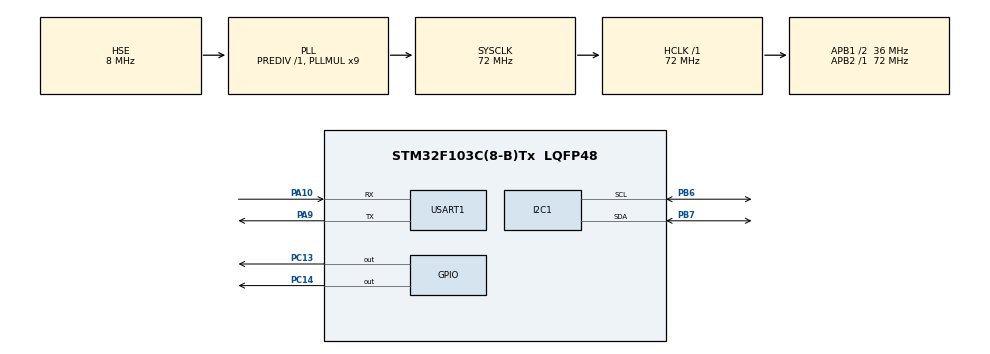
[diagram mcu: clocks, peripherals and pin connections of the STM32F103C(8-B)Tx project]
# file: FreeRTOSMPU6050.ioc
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FREERTOS.Tasks01=defaultTask,0,128,StartDefaultTask,Default,NULL,Dynamic,NULL,NULL;myTask02,0,128,StartTask02,Default,NULL,Dynamic,NULL,NULL
FREERTOS.configUSE_NEWLIB_REENTRANT=1
Mcu.Family=STM32F1
Mcu.Name=STM32F103C(8-B)Tx
Mcu.Package=LQFP48
NVIC.PriorityGroup=NVIC_PRIORITYGROUP_4
NVIC.TIM1_UP_IRQn=true\:15\:0\:false\:false\:true\:false\:false\:true
NVIC.TimeBase=TIM1_UP_IRQn
NVIC.TimeBaseIP=TIM1
PA10.Mode=Asynchronous
PA10.Signal=USART1_RX
PA9.Mode=Asynchronous
PA9.Signal=USART1_TX
PB6.Mode=I2C
PB6.Signal=I2C1_SCL
PB7.Mode=I2C
PB7.Signal=I2C1_SDA
PC13-TAMPER-RTC.Signal=GPIO_Output
PC14-OSC32_IN.Signal=GPIO_Output
PD0-OSC_IN.Mode=HSE-External-Oscillator
PD0-OSC_IN.Signal=RCC_OSC_IN
PD1-OSC_OUT.Mode=HSE-External-Oscillator
PD1-OSC_OUT.Signal=RCC_OSC_OUT
ProjectManager.HeapSize=0x200
ProjectManager.StackSize=0x400
ProjectManager.TargetToolchain=STM32CubeIDE
RCC.AHBFreq_Value=72000000
RCC.APB1CLKDivider=RCC_HCLK_DIV2
RCC.APB1Freq_Value=36000000
RCC.APB1TimFreq_Value=72000000
RCC.APB2Freq_Value=72000000
RCC.APB2TimFreq_Value=72000000
RCC.HCLKFreq_Value=72000000
RCC.PLLMUL=RCC_PLL_MUL9
RCC.PLLSourceVirtual=RCC_PLLSOURCE_HSE
RCC.SYSCLKFreq_VALUE=72000000
RCC.SYSCLKSource=RCC_SYSCLKSOURCE_PLLCLK
RCC.USBFreq_Value=72000000
USART1.VirtualMode=VM_ASYNC
VP_FREERTOS_VS_CMSIS_V1.Mode=CMSIS_V1
VP_SYS_VS_ND.Mode=No_Debug
VP_SYS_VS_tim1.Mode=TIM1
board=custom

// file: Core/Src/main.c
/* USER CODE BEGIN Header */
/**
  ******************************************************************************
  * @file           : main.c
  * @brief          : Main program body
  ******************************************************************************
  * @attention
  *
  * <h2><center>&copy; Copyright (c) 2021 STMicroelectronics.
  * All rights reserved.</center></h2>
  *
  * This software component is licensed by ST under BSD 3-Clause license,
  * the "License"; You may not use this file except in compliance with the
  * License. You may obtain a copy of the License at:
  *                        opensource.org/licenses/BSD-3-Clause
  *
  ******************************************************************************
  */
/* USER CODE END Header */
#include "main.h"
#include "cmsis_os.h"
#include "TJ_MPU6050.h"
#include "stdio.h"

I2C_HandleTypeDef hi2c1;

UART_HandleTypeDef huart1;

osThreadId defaultTaskHandle;
osThreadId myTask02Handle;

void SystemClock_Config(void);
static void MX_GPIO_Init(void);
static void MX_I2C1_Init(void);
static void MX_USART1_UART_Init(void);
void StartDefaultTask(void const * argument);
void StartTask02(void const * argument);

/* USER CODE BEGIN PFP */
RawData_Def myAccelRaw, myGyroRaw;
ScaledData_Def myAccelScaled, myGyroScaled;
/* USER CODE END PFP */

/* USER CODE BEGIN 0 */
uint8_t buf[32] = {'\0'};
/* USER CODE END 0 */

int main(void)
{

  /* MCU Configuration--------------------------------------------------------*/
	MPU_ConfigTypeDef myMpuConfig;
  /* Reset of all peripherals, Initializes the Flash interface and the Systick. */
  HAL_Init();

  /* Configure the system clock */
  SystemClock_Config();

  /* Initialize all configured peripherals */
  MX_GPIO_Init();
  MX_I2C1_Init();
  MX_USART1_UART_Init();

  /* Create the thread(s) */
  /* definition and creation of defaultTask */
  osThreadDef(defaultTask, StartDefaultTask, osPriorityNormal, 0, 128);
  defaultTaskHandle = osThreadCreate(osThread(defaultTask), NULL);

  /* definition and creation of myTask02 */
  osThreadDef(myTask02, StartTask02, osPriorityNormal, 0, 128);
  myTask02Handle = osThreadCreate(osThread(myTask02), NULL);

  MPU6050_Init(&hi2c1);
  	//2. Configure Accel and Gyro parameters
  	myMpuConfig.Accel_Full_Scale = AFS_SEL_2g;
  	myMpuConfig.ClockSource = Internal_8MHz;
  	myMpuConfig.CONFIG_DLPF = DLPF_184A_188G_Hz;
  	myMpuConfig.Gyro_Full_Scale = FS_SEL_500;
  	myMpuConfig.Sleep_Mode_Bit = 0;  //1: sleep mode, 0: normal mode
  	MPU6050_Config(&myMpuConfig);
  /* Start scheduler */
  osKernelStart();

  /* We should never get here as control is now taken by the scheduler */
  /* Infinite loop */
  while (1)
  {

  }
}

void SystemClock_Config(void)
{
  RCC_OscInitTypeDef RCC_OscInitStruct = {0};
  RCC_ClkInitTypeDef RCC_ClkInitStruct = {0};

  /** Initializes the RCC Oscillators according to the specified parameters
  * in the RCC_OscInitTypeDef structure.
  */
  RCC_OscInitStruct.OscillatorType = RCC_OSCILLATORTYPE_HSE;
  RCC_OscInitStruct.HSEState = RCC_HSE_ON;
  RCC_OscInitStruct.HSEPredivValue = RCC_HSE_PREDIV_DIV1;
  RCC_OscInitStruct.HSIState = RCC_HSI_ON;
  RCC_OscInitStruct.PLL.PLLState = RCC_PLL_ON;
  RCC_OscInitStruct.PLL.PLLSource = RCC_PLLSOURCE_HSE;
  RCC_OscInitStruct.PLL.PLLMUL = RCC_PLL_MUL9;
  if (HAL_RCC_OscConfig(&RCC_OscInitStruct) != HAL_OK)
  {
    Error_Handler();
  }
  /** Initializes the CPU, AHB and APB buses clocks
  */
  RCC_ClkInitStruct.ClockType = RCC_CLOCKTYPE_HCLK|RCC_CLOCKTYPE_SYSCLK
                              |RCC_CLOCKTYPE_PCLK1|RCC_CLOCKTYPE_PCLK2;
  RCC_ClkInitStruct.SYSCLKSource = RCC_SYSCLKSOURCE_PLLCLK;
  RCC_ClkInitStruct.AHBCLKDivider = RCC_SYSCLK_DIV1;
  RCC_ClkInitStruct.APB1CLKDivider = RCC_HCLK_DIV2;
  RCC_ClkInitStruct.APB2CLKDivider = RCC_HCLK_DIV1;

  if (HAL_RCC_ClockConfig(&RCC_ClkInitStruct, FLASH_LATENCY_2) != HAL_OK)
  {
    Error_Handler();
  }
}

static void MX_I2C1_Init(void)
{

  hi2c1.Instance = I2C1;
  hi2c1.Init.ClockSpeed = 100000;
  hi2c1.Init.DutyCycle = I2C_DUTYCYCLE_2;
  hi2c1.Init.OwnAddress1 = 0;
  hi2c1.Init.AddressingMode = I2C_ADDRESSINGMODE_7BIT;
  hi2c1.Init.DualAddressMode = I2C_DUALADDRESS_DISABLE;
  hi2c1.Init.OwnAddress2 = 0;
  hi2c1.Init.GeneralCallMode = I2C_GENERALCALL_DISABLE;
  hi2c1.Init.NoStretchMode = I2C_NOSTRETCH_DISABLE;
  if (HAL_I2C_Init(&hi2c1) != HAL_OK)
  {
    Error_Handler();
  }

}

static void MX_USART1_UART_Init(void)
{

  huart1.Instance = USART1;
  huart1.Init.BaudRate = 115200;
  huart1.Init.WordLength = UART_WORDLENGTH_8B;
  huart1.Init.StopBits = UART_STOPBITS_1;
  huart1.Init.Parity = UART_PARITY_NONE;
  huart1.Init.Mode = UART_MODE_TX_RX;
  huart1.Init.HwFlowCtl = UART_HWCONTROL_NONE;
  huart1.Init.OverSampling = UART_OVERSAMPLING_16;
  if (HAL_UART_Init(&huart1) != HAL_OK)
  {
    Error_Handler();
  }

}

static void MX_GPIO_Init(void)
{
  GPIO_InitTypeDef GPIO_InitStruct = {0};

  /* GPIO Ports Clock Enable */
  __HAL_RCC_GPIOC_CLK_ENABLE();
  __HAL_RCC_GPIOD_CLK_ENABLE();
  __HAL_RCC_GPIOA_CLK_ENABLE();
  __HAL_RCC_GPIOB_CLK_ENABLE();

  /*Configure GPIO pin Output Level */
  HAL_GPIO_WritePin(GPIOC, GPIO_PIN_13|GPIO_PIN_14, GPIO_PIN_RESET);

  /*Configure GPIO pins : PC13 PC14 */
  GPIO_InitStruct.Pin = GPIO_PIN_13|GPIO_PIN_14;
  GPIO_InitStruct.Mode = GPIO_MODE_OUTPUT_PP;
  GPIO_InitStruct.Pull = GPIO_NOPULL;
  GPIO_InitStruct.Speed = GPIO_SPEED_FREQ_LOW;
  HAL_GPIO_Init(GPIOC, &GPIO_InitStruct);

}

void StartDefaultTask(void const * argument)
{
  /* USER CODE BEGIN 5 */
  /* Infinite loop */
  for(;;)
  {

	MPU6050_Get_Accel_RawData(&myAccelRaw);
	MPU6050_Get_Gyro_RawData(&myGyroRaw);
	//HAL_GPIO_TogglePin(GPIOC, GPIO_PIN_13);
    //osDelay(20);
	osDelay(1000);
  }
  /* USER CODE END 5 */
}

void StartTask02(void const * argument)
{
  /* USER CODE BEGIN StartTask02 */
  /* Infinite loop */
  for(;;)
  {
	  MPU6050_Get_Accel_Scale(&myAccelScaled);
	  MPU6050_Get_Gyro_Scale(&myGyroScaled);
	  sprintf (buf, "Ax=%.2f \n", myAccelScaled.x);
	  HAL_UART_Transmit(&huart1, buf, sizeof(buf), 100);

	  sprintf (buf, "Ay=%.2f \n", myAccelScaled.y);
	  HAL_UART_Transmit(&huart1, buf, sizeof(buf), 100);

	  sprintf (buf, "Az=%.2f \n", myAccelScaled.z);
	  HAL_UART_Transmit(&huart1, buf, sizeof(buf), 100);

	  sprintf (buf, "Gx=%.2f \n", myGyroScaled.x);
	  HAL_UART_Transmit(&huart1, buf, sizeof(buf), 100);

	  sprintf (buf, "Gy=%.2f \n", myGyroScaled.y);
	  HAL_UART_Transmit(&huart1, buf, sizeof(buf), 100);

	  sprintf (buf, "Gz=%.2f \n", myGyroScaled.z);
	  HAL_UART_Transmit(&huart1, buf, sizeof(buf), 100);
	  //HAL_GPIO_TogglePin(GPIOC, GPIO_PIN_14);
	  //osDelay(200);
	  osDelay(1000);
  }
  /* USER CODE END StartTask02 */
}

void HAL_TIM_PeriodElapsedCallback(TIM_HandleTypeDef *htim)
{
  if (htim->Instance == TIM1) {
    HAL_IncTick();
  }
}

void Error_Handler(void)
{
  __disable_irq();
  while (1)
  {
  }
}

/************************ (C) COPYRIGHT STMicroelectronics *****END OF FILE****/
